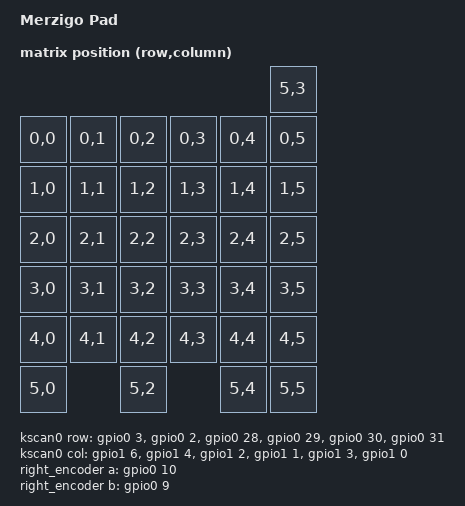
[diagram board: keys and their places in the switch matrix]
/*
 * Copyright (c) 2020 The ZMK Contributors
 *
 * SPDX-License-Identifier: MIT
 */

/dts-v1/;
#include <nordic/nrf52840_qiaa.dtsi>
#include <common/nordic/nrf52840_uf2_boot_mode.dtsi>
#include <dt-bindings/led/led.h>

#include <dt-bindings/zmk/matrix_transform.h>

#include "pad-layouts.dtsi"

&physical_layout0 {
    transform = <&matrix_transform0>;
};

/ {
    model = "Merzigo Pad";
    compatible = "merzigo,pad";

    chosen {
        zephyr,code-partition = &code_partition;
        zephyr,sram = &sram0;
        zephyr,flash = &flash0;
        zmk,physical-layout = &physical_layout0;
        zmk,kscan = &kscan0;
        zmk,battery = &vbatt;
    };

	aliases {
        led-red = &red_led;
        led-green = &green_led;
        led-blue = &blue_led;
    };

    leds {
        compatible = "gpio-leds";
        red_led: led_0 {
            gpios = <&gpio1 10 GPIO_ACTIVE_LOW>;
        };
        green_led: led_1 {
            gpios = <&gpio1 15 GPIO_ACTIVE_LOW>;
        };
        blue_led: led_2 {
            gpios = <&gpio1 13 GPIO_ACTIVE_LOW>;
        };
    };

    tp4057_status_pins {
		compatible = "gpio-keys";
		charging_state: charging_state0 {
			gpios = <&gpio0 12 GPIO_ACTIVE_LOW>;
		};
		standby_state: standby_state0 {
			gpios = <&gpio1 9 GPIO_ACTIVE_LOW>;
		};
	};

    matrix_transform0: matrix_transform_0 {
        compatible = "zmk,matrix-transform";
        columns = <6>;
        rows = <7>;
        map = <
                                                    RC(5,3)
            RC(0,0) RC(0,1) RC(0,2) RC(0,3) RC(0,4) RC(0,5)
            RC(1,0) RC(1,1) RC(1,2) RC(1,3) RC(1,4) RC(1,5)
            RC(2,0) RC(2,1) RC(2,2) RC(2,3) RC(2,4) RC(2,5)
            RC(3,0) RC(3,1) RC(3,2) RC(3,3) RC(3,4) RC(3,5)
            RC(4,0) RC(4,1) RC(4,2) RC(4,3) RC(4,4) RC(4,5)
            RC(5,0)         RC(5,2)         RC(5,4) RC(5,5)
        >;
    };

    kscan0: kscan_0 {
        compatible = "zmk,kscan-gpio-matrix";
        wakeup-source;

        diode-direction = "col2row";
        row-gpios
            = <&gpio0  3 (GPIO_ACTIVE_HIGH | GPIO_PULL_DOWN)>
            , <&gpio0  2 (GPIO_ACTIVE_HIGH | GPIO_PULL_DOWN)>
            , <&gpio0 28 (GPIO_ACTIVE_HIGH | GPIO_PULL_DOWN)>
            , <&gpio0 29 (GPIO_ACTIVE_HIGH | GPIO_PULL_DOWN)>
            , <&gpio0 30 (GPIO_ACTIVE_HIGH | GPIO_PULL_DOWN)>
            , <&gpio0 31 (GPIO_ACTIVE_HIGH | GPIO_PULL_DOWN)>
            ;

        col-gpios
            = <&gpio1  6 GPIO_ACTIVE_HIGH>
            , <&gpio1  4 GPIO_ACTIVE_HIGH>
            , <&gpio1  2 GPIO_ACTIVE_HIGH>
            , <&gpio1  1 GPIO_ACTIVE_HIGH>
            , <&gpio1  3 GPIO_ACTIVE_HIGH>
            , <&gpio1  0 GPIO_ACTIVE_HIGH>
            ;
    };

    right_encoder: encoder_right {
        compatible = "alps,ec11";
        a-gpios = <&gpio0 10 (GPIO_ACTIVE_HIGH | GPIO_PULL_UP)>;
        b-gpios = <&gpio0  9 (GPIO_ACTIVE_HIGH | GPIO_PULL_UP)>;
        steps = <60>;
        status = "okay";
    };

    sensors: sensors {
        compatible = "zmk,keymap-sensors";
        status = "okay";
        sensors = <&right_encoder>;
        triggers-per-rotation = <30>;
    };

    vbatt: vbatt {
		compatible = "zmk,battery-voltage-divider";
		io-channels = <&adc 3>;
		output-ohms = <2000000>;
		full-ohms = <(2000000 + 1000000)>;
	};
};

&uicr {
    nfct-pins-as-gpios;
};

&adc {
	status = "okay";
};

&gpiote {
	status = "okay";
};

&gpio0 {
	status = "okay";
};

&gpio1 {
	status = "okay";
};

zephyr_udc0: &usbd {
    status = "okay";
};

&flash0 {
	/*
	 * For more information, see:
	 * http://docs.zephyrproject.org/latest/devices/dts/flash_partitions.html
	 */
	partitions {
		compatible = "fixed-partitions";
		#address-cells = <1>;
		#size-cells = <1>;

		sd_partition: partition@0 {
			label = "softdevice";
			reg = <0x00000000 0x00026000>;
		};
		code_partition: partition@26000 {
			label = "code_partition";
			reg = <0x00026000 0x000c6000>;
		};

		/*
		 * The flash starting at 0x000ec000 and ending at
		 * 0x000f3fff is reserved for use by the application.
		 */

		/*
		 * Storage partition will be used by FCB/LittleFS/NVS
		 * if enabled.
		 */
		storage_partition: partition@ec000 {
			label = "storage";
			reg = <0x000ec000 0x00008000>;
		};

		boot_partition: partition@f4000 {
			label = "adafruit_boot";
			reg = <0x000f4000 0x0000c000>;
		};
	};
};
